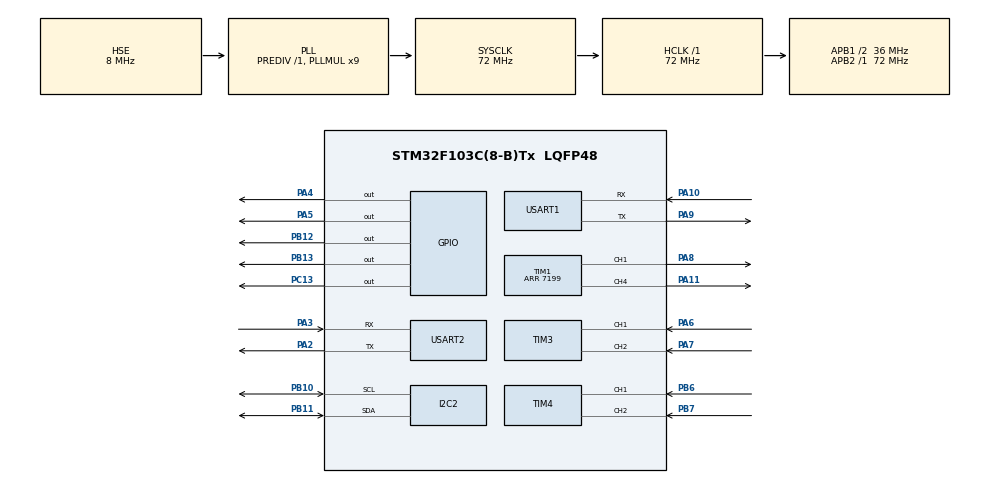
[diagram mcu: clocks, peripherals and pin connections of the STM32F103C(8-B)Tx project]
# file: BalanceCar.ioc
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FREERTOS.Tasks01=Main_Task,1,128,Main_Task_Start,Default,NULL,Dynamic,NULL,NULL;Encoder_Task,0,128,Encoder_Task_Start,Default,NULL,Dynamic,NULL,NULL;MPU6050_Task,0,128,MPU6050_Task_Start,Default,NULL,Dynamic,NULL,NULL
FREERTOS.configTOTAL_HEAP_SIZE=10000
I2C2.I2C_Mode=I2C_Fast
Mcu.Family=STM32F1
Mcu.Name=STM32F103C(8-B)Tx
Mcu.Package=LQFP48
NVIC.PriorityGroup=NVIC_PRIORITYGROUP_4
NVIC.TIM2_IRQn=true\:15\:0\:false\:false\:true\:false\:true\:true
NVIC.TimeBase=TIM2_IRQn
NVIC.TimeBaseIP=TIM2
NVIC.USART1_IRQn=true\:5\:0\:false\:false\:true\:true\:true\:true
PA10.Mode=Asynchronous
PA10.Signal=USART1_RX
PA11.Signal=S_TIM1_CH4
PA13.Mode=Serial_Wire
PA13.Signal=SYS_JTMS-SWDIO
PA14.Mode=Serial_Wire
PA14.Signal=SYS_JTCK-SWCLK
PA2.Mode=Asynchronous
PA2.Signal=USART2_TX
PA3.Mode=Asynchronous
PA3.Signal=USART2_RX
PA4.GPIO_Speed=GPIO_SPEED_FREQ_HIGH
PA4.Signal=GPIO_Output
PA5.GPIO_Speed=GPIO_SPEED_FREQ_HIGH
PA5.Signal=GPIO_Output
PA6.Signal=S_TIM3_CH1
PA7.Signal=S_TIM3_CH2
PA8.Signal=S_TIM1_CH1
PA9.Mode=Asynchronous
PA9.Signal=USART1_TX
PB10.Mode=I2C
PB10.Signal=I2C2_SCL
PB11.Mode=I2C
PB11.Signal=I2C2_SDA
PB12.GPIO_Speed=GPIO_SPEED_FREQ_HIGH
PB12.Signal=GPIO_Output
PB13.GPIO_Speed=GPIO_SPEED_FREQ_HIGH
PB13.Signal=GPIO_Output
PB6.Signal=S_TIM4_CH1
PB7.Signal=S_TIM4_CH2
PC13-TAMPER-RTC.Signal=GPIO_Output
PD0-OSC_IN.Mode=HSE-External-Oscillator
PD0-OSC_IN.Signal=RCC_OSC_IN
PD1-OSC_OUT.Mode=HSE-External-Oscillator
PD1-OSC_OUT.Signal=RCC_OSC_OUT
ProjectManager.HeapSize=0x200
ProjectManager.StackSize=0x400
ProjectManager.TargetToolchain=MDK-ARM V5
RCC.AHBFreq_Value=72000000
RCC.APB1CLKDivider=RCC_HCLK_DIV2
RCC.APB1Freq_Value=36000000
RCC.APB1TimFreq_Value=72000000
RCC.APB2Freq_Value=72000000
RCC.APB2TimFreq_Value=72000000
RCC.HCLKFreq_Value=72000000
RCC.PLLMUL=RCC_PLL_MUL9
RCC.PLLSourceVirtual=RCC_PLLSOURCE_HSE
RCC.SYSCLKFreq_VALUE=72000000
RCC.SYSCLKSource=RCC_SYSCLKSOURCE_PLLCLK
RCC.USBFreq_Value=72000000
SH.S_TIM1_CH1.0=TIM1_CH1,PWM Generation1 CH1
SH.S_TIM1_CH4.0=TIM1_CH4,PWM Generation4 CH4
SH.S_TIM3_CH1.0=TIM3_CH1,Encoder_Interface
SH.S_TIM3_CH2.0=TIM3_CH2,Encoder_Interface
SH.S_TIM4_CH1.0=TIM4_CH1,Encoder_Interface
SH.S_TIM4_CH2.0=TIM4_CH2,Encoder_Interface
TIM1.Channel-PWM\ Generation1\ CH1=TIM_CHANNEL_1
TIM1.Channel-PWM\ Generation4\ CH4=TIM_CHANNEL_4
TIM1.Period=7199
TIM3.EncoderMode=TIM_ENCODERMODE_TI12
TIM4.EncoderMode=TIM_ENCODERMODE_TI12
USART1.VirtualMode=VM_ASYNC
USART2.VirtualMode=VM_ASYNC
VP_FREERTOS_VS_CMSIS_V1.Mode=CMSIS_V1
VP_SYS_VS_tim2.Mode=TIM2
VP_TIM1_VS_ClockSourceINT.Mode=Internal
board=custom

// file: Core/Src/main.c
/* USER CODE BEGIN Header */
/**
  ******************************************************************************
  * @file           : main.c
  * @brief          : Main program body
  ******************************************************************************
  * @attention
  *
  * Copyright (c) 2022 STMicroelectronics.
  * All rights reserved.
  *
  * This software is licensed under terms that can be found in the LICENSE file
  * in the root directory of this software component.
  * If no LICENSE file comes with this software, it is provided AS-IS.
  *
  ******************************************************************************
  */
/* USER CODE END Header */
#include "main.h"
#include "cmsis_os.h"
#include "i2c.h"
#include "tim.h"
#include "usart.h"
#include "gpio.h"

/* USER CODE BEGIN Includes */
#include "stdio.h"
#include "math.h"
#include "mpu6050.h"
#include "inv_mpu.h"
#include "inv_mpu_dmp_motion_driver.h"
/* USER CODE END Includes */

void SystemClock_Config(void);
void MX_FREERTOS_Init(void);

int main(void)
{

  /* MCU Configuration--------------------------------------------------------*/

  /* Reset of all peripherals, Initializes the Flash interface and the Systick. */
  HAL_Init();

  /* Configure the system clock */
  SystemClock_Config();

  /* Initialize all configured peripherals */
  MX_GPIO_Init();
  MX_I2C2_Init();
  MX_USART2_UART_Init();
  MX_TIM1_Init();
  MX_TIM3_Init();
  MX_TIM4_Init();
  MX_USART1_UART_Init();

  /* Call init function for freertos objects (in freertos.c) */
  MX_FREERTOS_Init();
  /* Start scheduler */
  osKernelStart();

  /* We should never get here as control is now taken by the scheduler */
  /* Infinite loop */
  while (1)
  {

    /* USER CODE BEGIN 3 */

//	UART_Proc();

  }
  /* USER CODE END 3 */
}

void SystemClock_Config(void)
{
  RCC_OscInitTypeDef RCC_OscInitStruct = {0};
  RCC_ClkInitTypeDef RCC_ClkInitStruct = {0};

  /** Initializes the RCC Oscillators according to the specified parameters
  * in the RCC_OscInitTypeDef structure.
  */
  RCC_OscInitStruct.OscillatorType = RCC_OSCILLATORTYPE_HSE;
  RCC_OscInitStruct.HSEState = RCC_HSE_ON;
  RCC_OscInitStruct.HSEPredivValue = RCC_HSE_PREDIV_DIV1;
  RCC_OscInitStruct.HSIState = RCC_HSI_ON;
  RCC_OscInitStruct.PLL.PLLState = RCC_PLL_ON;
  RCC_OscInitStruct.PLL.PLLSource = RCC_PLLSOURCE_HSE;
  RCC_OscInitStruct.PLL.PLLMUL = RCC_PLL_MUL9;
  if (HAL_RCC_OscConfig(&RCC_OscInitStruct) != HAL_OK)
  {
    Error_Handler();
  }
  /** Initializes the CPU, AHB and APB buses clocks
  */
  RCC_ClkInitStruct.ClockType = RCC_CLOCKTYPE_HCLK|RCC_CLOCKTYPE_SYSCLK
                              |RCC_CLOCKTYPE_PCLK1|RCC_CLOCKTYPE_PCLK2;
  RCC_ClkInitStruct.SYSCLKSource = RCC_SYSCLKSOURCE_PLLCLK;
  RCC_ClkInitStruct.AHBCLKDivider = RCC_SYSCLK_DIV1;
  RCC_ClkInitStruct.APB1CLKDivider = RCC_HCLK_DIV2;
  RCC_ClkInitStruct.APB2CLKDivider = RCC_HCLK_DIV1;

  if (HAL_RCC_ClockConfig(&RCC_ClkInitStruct, FLASH_LATENCY_2) != HAL_OK)
  {
    Error_Handler();
  }
}

void HAL_TIM_PeriodElapsedCallback(TIM_HandleTypeDef *htim)
{
  if (htim->Instance == TIM2) {
    HAL_IncTick();
  }
}

void Error_Handler(void)
{
  __disable_irq();
  while (1)
  {
  }
}

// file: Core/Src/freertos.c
/* USER CODE BEGIN Header */
/**
  ******************************************************************************
  * File Name          : freertos.c
  * Description        : Code for freertos applications
  ******************************************************************************
  * @attention
  *
  * Copyright (c) 2022 STMicroelectronics.
  * All rights reserved.
  *
  * This software is licensed under terms that can be found in the LICENSE file
  * in the root directory of this software component.
  * If no LICENSE file comes with this software, it is provided AS-IS.
  *
  ******************************************************************************
  */
/* USER CODE END Header */

#include "FreeRTOS.h"
#include "task.h"
#include "main.h"
#include "cmsis_os.h"

/* USER CODE BEGIN Includes */
#include "i2c.h"
#include "tim.h"
#include "usart.h"
#include "gpio.h"
#include "stdio.h"
#include "math.h"
#include "mpu6050.h"
#include "inv_mpu.h"
#include "inv_mpu_dmp_motion_driver.h"
/* USER CODE END Includes */

osThreadId Main_TaskHandle;
osThreadId Encoder_TaskHandle;
osThreadId MPU6050_TaskHandle;

/* USER CODE BEGIN FunctionPrototypes */
//-----全局变量---
int Vertical_out,Velocity_out,Turn_out; // 直立环&速度环&转向环的输出变量
int Encoder_Left,Encoder_Right,Balance_PWM;
int Moto1,Moto2;//控制2个电机
int PWM_out,Turn_Pwm; //闭环输出变量
int speedControlPeriod = 0;//控制速度环平缓输出的周期

u8 AIN1,AIN2;//控制电机正反转
u8 BIN1,BIN2;
u8 Moto_Flag=0;//电机控制标志
u8 Start_Flag=0;//系统初始化完成标志
u8 Tracking_Flag=1;//寻迹标志

float Pitch,Roll,Yaw;	        // Pitch：俯仰角，Roll：横滚角，Yaw：偏航角
short gyrox,gyroy,gyroz;        // 角速度
short aacx,aacy,aacz;           // 加速度
float Med_Angle=-2;//机械中值为2，能使得小车真正平衡住的角度，可以二次开发作作为一定速度(给定一定倾斜角)

unsigned char Usart_TX_Buf[40];
uint16_t date1;//stm32接收到openmv的PID算法得到speed*1000后的数据
uint16_t Tracking_speed;//寻迹速度
uint16_t start_speed = 0;//初始速度
uint8_t Usart1_RX_Buf;  //串口接收数据缓存buf

//----子函数声明-----
void UART_Proc();
int Vertical(float Angle,float Gyro_Y);			 				//直立环
int Velocity(int Encoder_left,int Encoder_right);				//速度环
int Turn(int datex,short yaw);	//转向环
u8 Stop(signed int angle);    		//倒下保护
void Limit(int *motoA,int *motoB);  //电机速度限幅
void Set_Pwm(int Moto1,int Moto2);	//控制PWM最终输出
int ComplementaryFiltering();
int ComplementaryFiltering2();
void HAL_UART_RxCpltCallback(UART_HandleTypeDef *huart);

//-----printf重定向-----
//int fputc(int ch,FILE *f)
//{
//	HAL_UART_Transmit(&huart1,(uint8_t *)&ch,1,0xFFFF);
//	return ch;

//}

/* USER CODE END FunctionPrototypes */

void Main_Task_Start(void const * argument);
void Encoder_Task_Start(void const * argument);
void MPU6050_Task_Start(void const * argument);

void MX_FREERTOS_Init(void); /* (MISRA C 2004 rule 8.1) */

/* GetIdleTaskMemory prototype (linked to static allocation support) */
void vApplicationGetIdleTaskMemory( StaticTask_t **ppxIdleTaskTCBBuffer, StackType_t **ppxIdleTaskStackBuffer, uint32_t *pulIdleTaskStackSize );

/* USER CODE BEGIN GET_IDLE_TASK_MEMORY */
static StaticTask_t xIdleTaskTCBBuffer;
static StackType_t xIdleStack[configMINIMAL_STACK_SIZE];
//静态方法去创建任务
void vApplicationGetIdleTaskMemory( StaticTask_t **ppxIdleTaskTCBBuffer, StackType_t **ppxIdleTaskStackBuffer, uint32_t *pulIdleTaskStackSize )
{
  *ppxIdleTaskTCBBuffer = &xIdleTaskTCBBuffer;
  *ppxIdleTaskStackBuffer = &xIdleStack[0];
  *pulIdleTaskStackSize = configMINIMAL_STACK_SIZE;
  /* place for user code */
}
/* USER CODE END GET_IDLE_TASK_MEMORY */

void MX_FREERTOS_Init(void) {

  /* Create the thread(s) */
  /* definition and creation of Main_Task */
  osThreadDef(Main_Task, Main_Task_Start, osPriorityAboveNormal, 0, 128);
  Main_TaskHandle = osThreadCreate(osThread(Main_Task), NULL);

  /* definition and creation of Encoder_Task */
  osThreadDef(Encoder_Task, Encoder_Task_Start, osPriorityNormal, 0, 128);
  Encoder_TaskHandle = osThreadCreate(osThread(Encoder_Task), NULL);

  /* definition and creation of MPU6050_Task */
  osThreadDef(MPU6050_Task, MPU6050_Task_Start, osPriorityNormal, 0, 128);
  MPU6050_TaskHandle = osThreadCreate(osThread(MPU6050_Task), NULL);

}

/*****************   100HZ任务   **************************/

void Main_Task_Start(void const * argument)
{
  /* USER CODE BEGIN Main_Task_Start */
  /* Infinite loop */

	 HAL_TIM_PWM_Start(&htim1, TIM_CHANNEL_1);//PWM
  	 HAL_TIM_PWM_Start(&htim1, TIM_CHANNEL_4);

	 HAL_TIM_Encoder_Start(&htim3,TIM_CHANNEL_1);//编码器
	 HAL_TIM_Encoder_Start(&htim3,TIM_CHANNEL_2);
	 HAL_TIM_Encoder_Start(&htim4,TIM_CHANNEL_1);
	 HAL_TIM_Encoder_Start(&htim4,TIM_CHANNEL_2);
    HAL_UART_Receive_IT(&huart1, &Usart1_RX_Buf, 1);//使能串口1接收中断

	//------MPU6050测试-----

  //----iic读取MUP器件ID----
	/* 第1个参数为I2C操作句柄

第2个参数为从机设备地址

第3个参数为从机寄存器地址

第4个参数为从机寄存器地址长度

第5个参数为发送的数据的起始地址

第6个参数为传输数据的大小

第7个参数为操作超时时间 */
  uint8_t recv = 0x00;
  HAL_I2C_Mem_Read(&hi2c2, (0x68 << 1), 0x75, I2C_MEMADD_SIZE_8BIT, &recv, 1, 0xfff);//句柄，MUP地址,器件ID寄存器

  if (recv == 0x68)
  {
  }
  else
  {
  }

  //-----DMP初始化----
  while(mpu_dmp_init())//成功返回0，否则返回1
  {
		uint8_t res;
		res = mpu_dmp_init();
		HAL_Delay(300);
  }
 HAL_GPIO_WritePin(GPIOC, GPIO_PIN_13, 0); //打开PC13 LED
 Start_Flag = 1; //标志系统初始化成功

  for(;;)
  {

		Vertical_out= Vertical(Pitch+0.1,gyroy+22);//直立环

	   Velocity_out = Velocity(Encoder_Left,Encoder_Right);// 速度环

		Turn_Pwm = Turn(date1,Yaw+1);

		//最终输出
	   Moto1 = Vertical_out-Velocity_out+Turn_Pwm; // 左电机，此处与单平衡车输出不同(线性相加)
		Moto2 = Vertical_out-Velocity_out-Turn_Pwm; // 右电机

		Limit(&Moto1,&Moto2);     // PWM限幅
		Set_Pwm(Moto1,Moto2);        // 加载到电机上

		osDelay(10);
  }
  /* USER CODE END Main_Task_Start */
}

/*****************   200HZ任务   **************************/

void Encoder_Task_Start(void const * argument)
{
  /* USER CODE BEGIN Encoder_Task_Start */
  /* Infinite loop */
  for(;;)
  {
	  // 1.采集编码器数据&MPU6050角度信息
   // 电机是相对安装，刚好相差180度，为了编码器输出极性一致，就需要对其中一个取反
	  Encoder_Left  =   Read_Encoder(3);//读取编码器测量的电机转速
	  Encoder_Right =   Read_Encoder(4);

	  osDelay(5);
  }
  /* USER CODE END Encoder_Task_Start */
}

/*****************   200HZ任务   **************************/

void MPU6050_Task_Start(void const * argument)
{
  /* USER CODE BEGIN MPU6050_Task_Start */
  /* Infinite loop */
  for(;;)
  {

		mpu_dmp_get_data(&Pitch,&Roll,&Yaw);	    // 读取角度
		MPU_Get_Gyroscope(&gyrox,&gyroy,&gyroz);  // 读取角速度
		MPU_Get_Accelerometer(&aacx,&aacy,&aacz); // 读取加速度

	  osDelay(5);
  }
  /* USER CODE END MPU6050_Task_Start */
}

/* USER CODE BEGIN Application */

/***************************************************************************
直立环PD控制器：Kp*Ek+Kd*Ek_D
入口：Med:机械中值(期望角度)，Angle:真实角度，Med_Angle：机械0点，gyro_Y:真实角速度
出口：PMW数值
******************************************************************************/
int Vertical(float Angle,float Gyro_Y)
{
	float Vertical_Kp= -360,Vertical_Kd=-1.2;	//直立环Kp,Kd
	PWM_out = Vertical_Kp*(Angle-Med_Angle)+Vertical_Kd*(Gyro_Y-0);	//-5
	return PWM_out;
}

/*********************************************************************
速度环PI控制器：Kp*Ek+Ki*Ek_S(Ek_S：偏差的积分)
入口：左右编码器测到的数值
出口：速度环输出pwm
**********************************************************************/
int Velocity(int Encoder_left,int Encoder_right)
{
	// 定义成静态变量，保存在静态存储器，使得变量不丢掉
	static float  Velocity,Encoder_Err,Encoder,Encoder_last;
	static float Encoder_Integral,Movement=10;	//Movement控制速度
	float kp=37,ki=0.185;	 //速度环P I 37,0.185

	// 1.计算速度偏差
	Encoder_Err = ((Encoder_Left+Encoder_Right)-0)*0.5;

	// 2.对速度偏差进行--低通滤波--
  // low_out = (1-a)*Ek+a*low_out_last
	Encoder = Encoder_Err*0.3 + Encoder_last*0.7;// 使得波形更加平滑,上次的速度占70%,本次的速度占30%
	Encoder_last = Encoder; 							// 防止速度过大影响直立环的正常工作

	// 3.对速度偏差积分出位移,遥控的速度通过积分融入速度控制器，减缓速度突变对直立控制的影响
  Encoder_Integral += Encoder-Movement; //积分出位移 积分时间：10ms

	// 4.积分限幅，寻迹效果需要降低积分，如果是单直立控制，10000左右
	if(Encoder_Integral>300)  	Encoder_Integral=300;
	if(Encoder_Integral<-200)	   Encoder_Integral=-200;

	if(Moto_Flag == 1||Start_Flag ==0) 			Encoder_Integral=0;     		//===电机关闭后或者复位清除积分
    //5.速度环控制输出
   Velocity=Encoder*kp+Encoder_Integral*ki;

//	speedControlPeriod++;
//	if(speedControlPeriod>10)//控制速度环平滑输出，采集10次才输出一次
//	{
//		speedControlPeriod = 0;
		return Velocity;

//	}

}

/*********************************************************************
转向环：控制循迹
入口：date1,yaw = z轴陀螺仪数值
**********************************************************************/
int Turn(int datex,short yaw)
{
   static float Bias,Last_Bias,date,Turn_Kp=15,Turn_Kd=0.18;
   float Turn_PWM;

	date=datex;
	if(date>=100) //左偏,左轮减速右轮加速，Turn_Pwm输出为+   Openmv端+100来处理负数
	{
	  date = (datex-200);

	}
	//=============turing PD controller==================//
				Bias = (date-0);
				Turn_PWM= -Bias*Turn_Kp-yaw*Turn_Kd;
				Last_Bias = Bias;
			return Turn_PWM;
}

/***************************************************************************
函数功能：控制电机
******************************************************************************/
void Contrl(void)
{
	HAL_GPIO_WritePin(GPIOA, GPIO_PIN_4, AIN1);
	HAL_GPIO_WritePin(GPIOA, GPIO_PIN_5, AIN2);

	HAL_GPIO_WritePin(GPIOB, GPIO_PIN_12, BIN1);
	HAL_GPIO_WritePin(GPIOB, GPIO_PIN_13, BIN2);
}

/**************************************************************************
函数功能：电机异常关闭函数
入口参数：角度
返回  值：1：关闭，0：不关闭
**************************************************************************/
u8 Stop(signed int angle)
{
	    u8 temp=0;
			if(angle<-40||angle>40)
			{	                                //===倾角大于40度关闭电机
				temp=1;                   		   //===Flag_Stop置1关闭电机
		//		Moto1 = 0;
			//	Moto2 = 0;
      }

		return temp;
}

/**************************************************************************
函数功能：电机转动控制函数
入口参数：闭环控制最终输出值
**************************************************************************/
void Set_Pwm(int Moto1,int Moto2)
{
	/*
	 Moto_Flag=Stop(Pitch+0.1);	//获取是否倒下的标志
	int   Dead_Zone=200;     //电机死区

	if(Start_Flag == 1)		//一级判断系统是否正常初始化
	{
		if(Moto_Flag==0)	//二级判断
		{
			if(Moto1>0)  AIN1 = 1,AIN2 = 0;
			else			 AIN1 = 0,AIN2 = 1;

			if(Moto2>0)  BIN1 = 1,BIN2 = 0;
			else		    BIN1 = 0 ,BIN2 = 1;
		   __HAL_TIM_SET_COMPARE(&htim1,TIM_CHANNEL_1,abs(Moto1)+Dead_Zone);
		   __HAL_TIM_SET_COMPARE(&htim1,TIM_CHANNEL_4,abs(Moto1)+Dead_Zone); //0-7200

	  }
		else//倒下就关闭电机
		{
		   __HAL_TIM_SET_COMPARE(&htim1,TIM_CHANNEL_1,0);	//4500-6000
		   __HAL_TIM_SET_COMPARE(&htim1,TIM_CHANNEL_4,0);	//4500-6000
		}
		 Contrl();
	}
	*/
}

/**************************************************************************
函数功能：限制电机速度
入口参数：闭环控制最终输出值
**************************************************************************/
void Limit(int *motoA,int *motoB)
{
	if(*motoA>7000)*motoA=7000;//最大7200
	if(*motoA<-7000)*motoA=-7000;

	if(*motoB>7000)*motoB=7000;
	if(*motoB<-7000)*motoB=-7000;
}

/**************************************************************************
函数功能：USART1接收中断回调 or 和openmv串口通信
引脚：		 TX_PA9,RX_PA10
**************************************************************************/
//串口中断回调函数
void HAL_UART_RxCpltCallback(UART_HandleTypeDef *huart)
{

		uint8_t i;
		static uint8_t RxCounter1=0;//数据缓冲区的索引
		static uint8_t RxBuffer1[5]={0};//存放数据的接收缓存区
		static uint8_t RxState = 0;	//接收标志位

		if(RxState==0&&Usart1_RX_Buf==0x2C)  //0x2c帧头
				{
					RxState=1;
					RxBuffer1[RxCounter1++]=Usart1_RX_Buf;//RxBuffer1[0]==0x2c RxCounter1==1
				}

				else if(RxState==1&&Usart1_RX_Buf==0x12)  //0x12帧头
				{
					RxState=2;
					RxBuffer1[RxCounter1++]=Usart1_RX_Buf;
				}

				else if(RxState==2)//开始接收有效数据
				{
					RxBuffer1[RxCounter1++]=Usart1_RX_Buf;//全部接收完，RxCounter1==7

					if(RxCounter1>=5||Usart1_RX_Buf == 0x5B)       //RxBuffer1接受满了,接收数据结束
					{
						  RxState=3;
						//RxBuffer1[2]是openmv发送的第一个数据的低八位,RxBuffer1[3]是openmv发送的第一个数据的高八位
						//date1=(RxBuffer1[RxCounter1-4]<<8)+(RxBuffer1[RxCounter1-5]);//分为低八位和高八位，先发低后发高
						//date2=(RxBuffer1[RxCounter1-2]<<8)+(RxBuffer1[RxCounter1-3]);
						date1=(RxBuffer1[RxCounter1-2]<<8)+(RxBuffer1[RxCounter1-3]);
//						HAL_GPIO_WritePin(GPIOC, GPIO_PIN_13, 1);

					}
				}

				else if(RxState==3)		//检测是否接受到结束标志
				{
						if(RxBuffer1[RxCounter1-1] == 0x5B)
						{

//
//									RxFlag1 = 0;
									RxCounter1 = 0;
									RxState = 0;
//						HAL_GPIO_WritePin(GPIOC, GPIO_PIN_13, 0);
//						HAL_UART_Receive_IT(&huart1,&Usart1_RX_Buf,1);
						}
						else   //接收错误
						{
									RxState = 0;
									RxCounter1=0;
									for(i=0;i<5;i++)
									{
											RxBuffer1[i]=0x00;      //将存放数据数组清零
											Tracking_Flag = 0;
									}
						}
				}

				else   //接收异常
				{
						RxState = 0;
						RxCounter1=0;
						for(i=0;i<5;i++)
						{
								RxBuffer1[i]=0x00;      //将存放数据数组清零
								Tracking_Flag=0;
						}
				}

	HAL_UART_Receive_IT(&huart1,&Usart1_RX_Buf,1);

}

/* USER CODE END Application */
